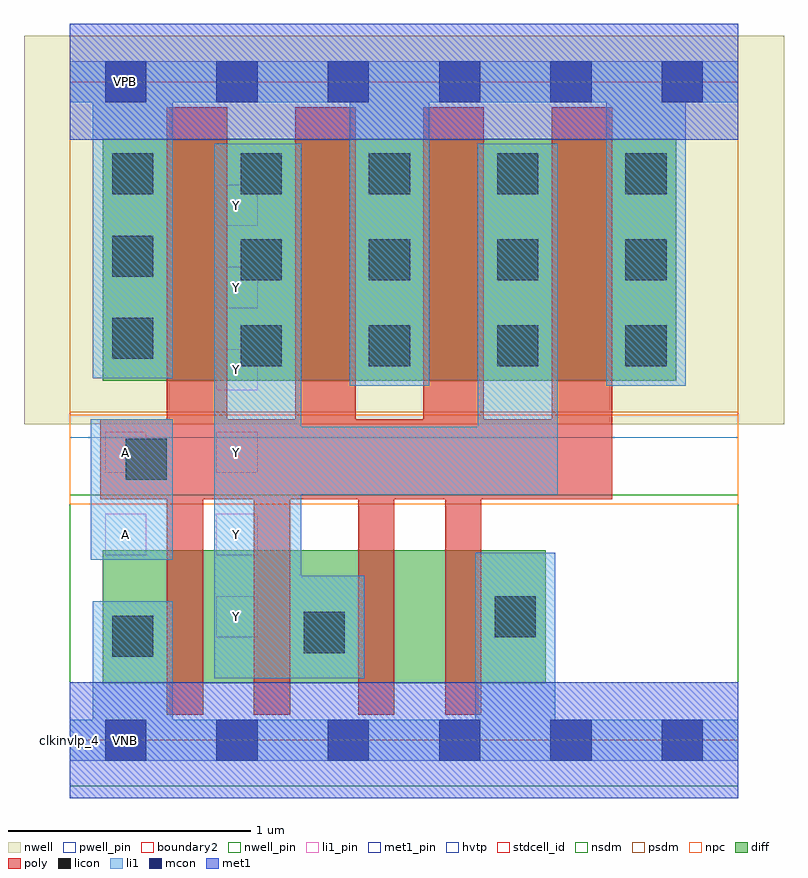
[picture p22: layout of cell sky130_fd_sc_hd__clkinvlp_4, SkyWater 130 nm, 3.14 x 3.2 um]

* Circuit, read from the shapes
.subckt sky130_fd_sc_hd__clkinvlp_4 A VGND VNB VPB VPWR Y
XM1 n1 A VGND VNB sky130_fd_pr__nfet_01v8 w=0.55 l=0.15
XM2 Y A n1 VNB sky130_fd_pr__nfet_01v8 w=0.55 l=0.15
XM3 n2 A Y VNB sky130_fd_pr__nfet_01v8 w=0.55 l=0.15
XM4 VGND A n2 VNB sky130_fd_pr__nfet_01v8 w=0.55 l=0.15
XM5 Y A VPWR VPB sky130_fd_pr__pfet_01v8_hvt w=1 l=0.25 m=4
.ends

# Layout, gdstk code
import gdstk
lib = gdstk.Library(unit=1e-6, precision=1e-09)
def R(c, l, rs):  # rectangles x0, y0, x1, y1
    for r in rs: c.add(gdstk.rectangle(r[:2], r[2:], *l))
def A(c, l, x, y, w, h, nx, ny, dx, dy):  # array of equal rectangles
    R(c, l, [(x+i*dx, y+j*dy, x+i*dx+w, y+j*dy+h) for i in range(nx) for j in range(ny)])
def P(c, l, *ps):  # polygons
    for p in ps: c.add(gdstk.Polygon(p, *l))
nwell_pin = (64, 16)
nwell = (64, 20)
diff = (65, 20)
poly = (66, 20)
licon = (66, 44)
li1_pin = (67, 16)
li1 = (67, 20)
mcon = (67, 44)
met1_pin = (68, 16)
met1 = (68, 20)
hvtp = (78, 44)
stdcell_id = (81, 4)
nsdm = (93, 44)
psdm = (94, 20)
npc = (95, 20)
pwell_pin = (122, 16)
boundary2 = (236, 0)

sky130_fd_sc_hd__clkinvl = lib.new_cell('sky130_fd_sc_hd__clkinvlp_4')
R(sky130_fd_sc_hd__clkinvl, nwell_pin, [(0.145,2.635,0.315,2.805)])
R(sky130_fd_sc_hd__clkinvl, nwell, [(-0.19,1.305,2.95,2.91)])
R(sky130_fd_sc_hd__clkinvl, diff, [(0.135,0.235,1.965,0.785), (0.135,1.485,2.505,2.485)])
P(sky130_fd_sc_hd__clkinvl, poly, [(0.4,0.105),(0.4,0.995),(0.125,0.995),(0.125,1.325),(0.4,1.325),(0.4,2.615),(0.65,2.615),(0.65,1.325),(0.93,1.325),(0.93,2.615),(1.18,2.615),(1.18,1.325),(1.46,1.325),(1.46,2.615),(1.71,2.615),(1.71,1.325),(1.99,1.325),(1.99,2.615),(2.24,2.615),(2.24,0.995),(1.7,0.995),(1.7,0.105),(1.55,0.105),(1.55,0.995),(1.34,0.995),(1.34,0.105),(1.19,0.105),(1.19,0.995),(0.91,0.995),(0.91,0.105),(0.76,0.105),(0.76,0.995),(0.55,0.995),(0.55,0.105)])
A(sky130_fd_sc_hd__clkinvl, licon, 0.705, 1.545, 0.17, 0.17, 4, 2, 0.53, 0.355)
A(sky130_fd_sc_hd__clkinvl, licon, 0.175, 2.255, 0.17, 0.17, 5, 1, 0.53, 0)
R(sky130_fd_sc_hd__clkinvl, licon, [(0.175,0.345,0.345,0.515), (0.965,0.36,1.135,0.53), (1.755,0.425,1.925,0.595), (0.23,1.075,0.4,1.245), (0.175,1.575,0.345,1.745), (0.175,1.915,0.345,2.085)])
A(sky130_fd_sc_hd__clkinvl, li1_pin, 0.605, 0.425, 0.17, 0.17, 1, 6, 0, 0.34)
R(sky130_fd_sc_hd__clkinvl, li1_pin, [(0.145,0.765,0.315,0.935), (0.145,1.105,0.315,1.275)])
R(sky130_fd_sc_hd__clkinvl, li1, [(0.085,0.745,0.425,1.325)])
P(sky130_fd_sc_hd__clkinvl, li1, [(0,-0.085),(0,0.085),(0.095,0.085),(0.095,0.575),(0.425,0.575),(0.425,0.085),(1.675,0.085),(1.675,0.775),(2.005,0.775),(2.005,0.085),(2.76,0.085),(2.76,-0.085)],
  [(1.155,1.465),(1.155,2.635),(0.425,2.635),(0.425,1.495),(0.095,1.495),(0.095,2.635),(0,2.635),(0,2.805),(2.76,2.805),(2.76,2.635),(2.545,2.635),(2.545,1.465),(2.215,1.465),(2.215,2.635),(1.485,2.635),(1.485,1.465)],
  [(0.595,0.255),(0.595,2.465),(0.955,2.465),(0.955,1.295),(1.685,1.295),(1.685,2.465),(2.015,2.465),(2.015,1.015),(0.955,1.015),(0.955,0.68),(1.215,0.68),(1.215,0.255)])
A(sky130_fd_sc_hd__clkinvl, mcon, 0.145, -0.085, 0.17, 0.17, 6, 2, 0.46, 2.72)
R(sky130_fd_sc_hd__clkinvl, met1_pin, [(0.145,-0.085,0.315,0.085), (0.145,2.635,0.315,2.805)])
R(sky130_fd_sc_hd__clkinvl, hvtp, [(0,1.25,2.76,2.72)])
R(sky130_fd_sc_hd__clkinvl, stdcell_id, [(0,0,2.76,2.72)])
R(sky130_fd_sc_hd__clkinvl, nsdm, [(0,-0.19,2.76,1.015)])
R(sky130_fd_sc_hd__clkinvl, psdm, [(0,1.355,2.76,2.91)])
R(sky130_fd_sc_hd__clkinvl, npc, [(0,0.975,2.76,1.345)])
R(sky130_fd_sc_hd__clkinvl, pwell_pin, [(0.145,-0.085,0.315,0.085)])
R(sky130_fd_sc_hd__clkinvl, boundary2, [(0,0,2.76,2.72)])
sky130_fd_sc_hd__clkinvl.add(gdstk.FlexPath([(0,2.72),(2.76,2.72)], 0.48, ends="flush", simple_path=True, layer=68, datatype=20))  # met1
sky130_fd_sc_hd__clkinvl.add(gdstk.FlexPath([(0,0),(2.76,0)], 0.48, ends="flush", simple_path=True, layer=68, datatype=20))  # met1
sky130_fd_sc_hd__clkinvl.add(gdstk.Label('A', (0.23,1.19), layer=67, texttype=5))
sky130_fd_sc_hd__clkinvl.add(gdstk.Label('Y', (0.69,0.51), layer=67, texttype=5))
sky130_fd_sc_hd__clkinvl.add(gdstk.Label('Y', (0.69,0.85), layer=67, texttype=5))
sky130_fd_sc_hd__clkinvl.add(gdstk.Label('Y', (0.69,1.19), layer=67, texttype=5))
sky130_fd_sc_hd__clkinvl.add(gdstk.Label('Y', (0.69,1.53), layer=67, texttype=5))
sky130_fd_sc_hd__clkinvl.add(gdstk.Label('Y', (0.69,1.87), layer=67, texttype=5))
sky130_fd_sc_hd__clkinvl.add(gdstk.Label('Y', (0.69,2.21), layer=67, texttype=5))
sky130_fd_sc_hd__clkinvl.add(gdstk.Label('A', (0.23,0.85), layer=67, texttype=5))
sky130_fd_sc_hd__clkinvl.add(gdstk.Label('VNB', (0.23,0), layer=64, texttype=59))
sky130_fd_sc_hd__clkinvl.add(gdstk.Label('VPB', (0.23,2.72), layer=64, texttype=5))
sky130_fd_sc_hd__clkinvl.add(gdstk.Label('VPWR', (0.23,2.72), layer=68, texttype=5))
sky130_fd_sc_hd__clkinvl.add(gdstk.Label('VGND', (0.23,0), layer=68, texttype=5))
sky130_fd_sc_hd__clkinvl.add(gdstk.Label('clkinvlp_4', (0,0), layer=83, texttype=44))

lib.write_gds('sky130_fd_sc_hd__clkinvlp_4.gds')
